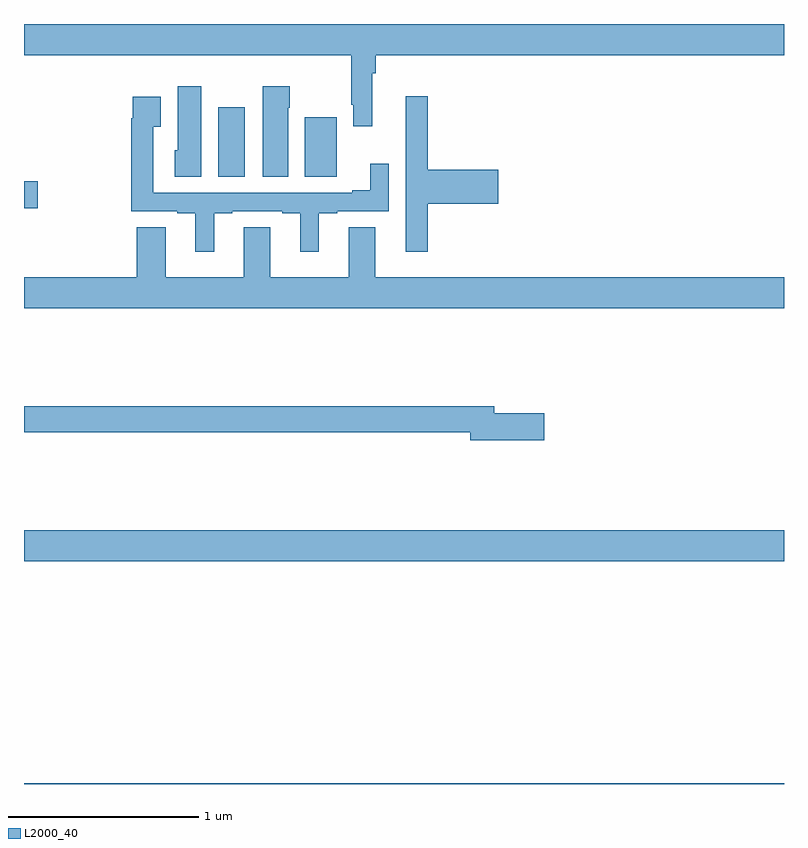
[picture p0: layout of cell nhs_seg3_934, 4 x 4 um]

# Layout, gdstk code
import gdstk
lib = gdstk.Library(unit=1e-6, precision=1e-09)
def R(c, l, rs):  # rectangles x0, y0, x1, y1
    for r in rs: c.add(gdstk.rectangle(r[:2], r[2:], *l))
def P(c, l, *ps):  # polygons
    for p in ps: c.add(gdstk.Polygon(p, *l))
L2000_40 = (2000, 40)

nhs_seg3_934 = lib.new_cell('nhs_seg3_934')
R(nhs_seg3_934, L2000_40, [(159,710.4,163,710.404), (159,711.572,163,711.736), (159,713.431,159.073,713.573), (160.022,713.596,160.162,713.962), (160.478,713.596,160.645,713.908)])
P(nhs_seg3_934, L2000_40, [(160.832,714.14),(160.85,714.14),(160.85,714.236),(163,714.236),(163,714.4),(159,714.4),(159,714.236),(160.722,714.236),(160.722,713.974),(160.734,713.974),(160.734,713.862),(160.832,713.862)],
  [(159.934,714.073),(159.809,714.073),(159.809,713.736),(159.794,713.736),(159.794,713.596),(159.934,713.596)],
  [(160.39,713.96),(160.398,713.96),(160.398,714.073),(160.256,714.073),(160.256,713.596),(160.39,713.596)],
  [(161.126,713.455),(161.497,713.455),(161.497,713.633),(161.126,713.633),(161.126,714.019),(161.009,714.019),(161.009,713.716),(161.01,713.716),(161.01,713.202),(161.126,713.202)],
  [(160,713.403),(160.096,713.403),(160.096,713.415),(160.358,713.415),(160.358,713.403),(160.454,713.403),(160.454,713.202),(160.552,713.202),(160.552,713.403),(160.648,713.403),(160.648,713.415),(160.92,713.415),(160.92,713.665),(160.823,713.665),(160.823,713.524),(160.727,713.524),(160.727,713.511),(159.681,713.511),(159.681,713.86),(159.721,713.86),(159.721,714.016),(159.573,714.016),(159.573,713.903),(159.565,713.903),(159.565,713.415),(159.806,713.415),(159.806,713.403),(159.902,713.403),(159.902,713.202),(160,713.202)],
  [(163,713.068),(160.849,713.068),(160.849,713.33),(160.709,713.33),(160.709,713.068),(160.297,713.068),(160.297,713.33),(160.157,713.33),(160.157,713.068),(159.745,713.068),(159.745,713.33),(159.593,713.33),(159.593,713.068),(159,713.068),(159,712.904),(163,712.904)],
  [(161.737,712.352),(161.476,712.352),(161.476,712.388),(159,712.388),(159,712.252),(161.348,712.252),(161.348,712.21),(161.737,712.21)])

lib.write_gds('nhs_seg3_934.gds')
